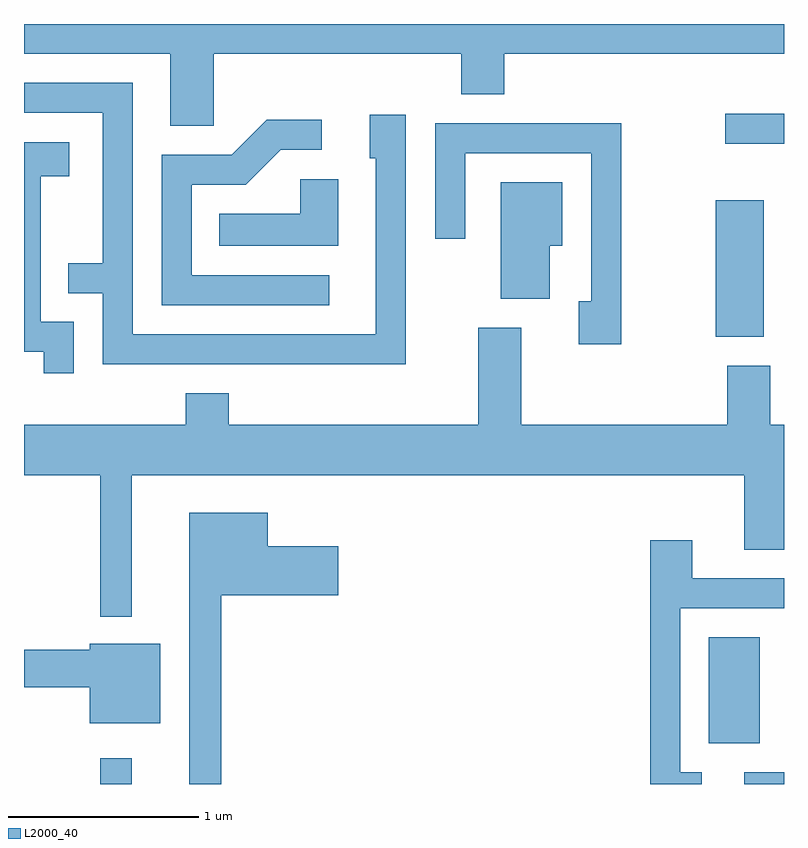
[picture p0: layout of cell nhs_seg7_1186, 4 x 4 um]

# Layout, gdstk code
import gdstk
lib = gdstk.Library(unit=1e-6, precision=1e-09)
def R(c, l, rs):  # rectangles x0, y0, x1, y1
    for r in rs: c.add(gdstk.rectangle(r[:2], r[2:], *l))
def P(c, l, *ps):  # polygons
    for p in ps: c.add(gdstk.Polygon(p, *l))
L2000_40 = (2000, 40)

nhs_seg7_1186 = lib.new_cell('nhs_seg7_1186')
R(nhs_seg7_1186, L2000_40, [(222.011,1708.252,222.179,1708.388), (225.401,1708.252,225.611,1708.314), (225.216,1708.466,225.484,1709.024), (225.251,1710.606,225.504,1711.324), (225.303,1711.621,225.611,1711.779)])
P(nhs_seg7_1186, L2000_40, [(222.609,1712.096),(223.911,1712.096),(223.911,1711.881),(224.139,1711.881),(224.139,1712.096),(225.611,1712.096),(225.611,1712.252),(221.611,1712.252),(221.611,1712.096),(222.381,1712.096),(222.381,1711.716),(222.609,1711.716)],
  [(223.619,1711.774),(223.431,1711.774),(223.431,1711.546),(223.461,1711.546),(223.461,1710.619),(222.184,1710.619),(222.184,1711.944),(221.611,1711.944),(221.611,1711.786),(222.026,1711.786),(222.026,1710.994),(221.843,1710.994),(221.843,1710.836),(222.026,1710.836),(222.026,1710.461),(223.619,1710.461)],
  [(223.218,1710.929),(222.494,1710.929),(222.494,1711.406),(222.777,1711.406),(222.962,1711.591),(223.178,1711.591),(223.178,1711.749),(222.889,1711.749),(222.704,1711.564),(222.336,1711.564),(222.336,1710.771),(223.218,1710.771)],
  [(224.754,1711.729),(223.776,1711.729),(223.776,1711.123),(223.934,1711.123),(223.934,1711.571),(224.596,1711.571),(224.596,1710.794),(224.531,1710.794),(224.531,1710.566),(224.754,1710.566)],
  [(221.874,1710.684),(221.699,1710.684),(221.699,1711.451),(221.849,1711.451),(221.849,1711.629),(221.611,1711.629),(221.611,1710.526),(221.716,1710.526),(221.716,1710.413),(221.874,1710.413)],
  [(223.264,1711.434),(223.066,1711.434),(223.066,1711.254),(222.638,1711.254),(222.638,1711.086),(223.264,1711.086)],
  [(224.379,1711.086),(224.444,1711.086),(224.444,1711.419),(224.121,1711.419),(224.121,1710.806),(224.379,1710.806)],
  [(222.179,1709.876),(225.401,1709.876),(225.401,1709.486),(225.611,1709.486),(225.611,1710.144),(225.539,1710.144),(225.539,1710.454),(225.311,1710.454),(225.311,1710.144),(224.229,1710.144),(224.229,1710.654),(224.001,1710.654),(224.001,1710.144),(222.689,1710.144),(222.689,1710.309),(222.461,1710.309),(222.461,1710.144),(221.611,1710.144),(221.611,1709.876),(222.011,1709.876),(222.011,1709.133),(222.179,1709.133)],
  [(222.649,1709.246),(223.264,1709.246),(223.264,1709.504),(222.894,1709.504),(222.894,1709.679),(222.481,1709.679),(222.481,1708.252),(222.649,1708.252)],
  [(225.178,1708.314),(225.064,1708.314),(225.064,1709.176),(225.611,1709.176),(225.611,1709.334),(225.129,1709.334),(225.129,1709.534),(224.906,1709.534),(224.906,1708.252),(225.178,1708.252)],
  [(222.329,1708.989),(221.956,1708.989),(221.956,1708.959),(221.611,1708.959),(221.611,1708.761),(221.956,1708.761),(221.956,1708.571),(222.329,1708.571)])

lib.write_gds('nhs_seg7_1186.gds')
